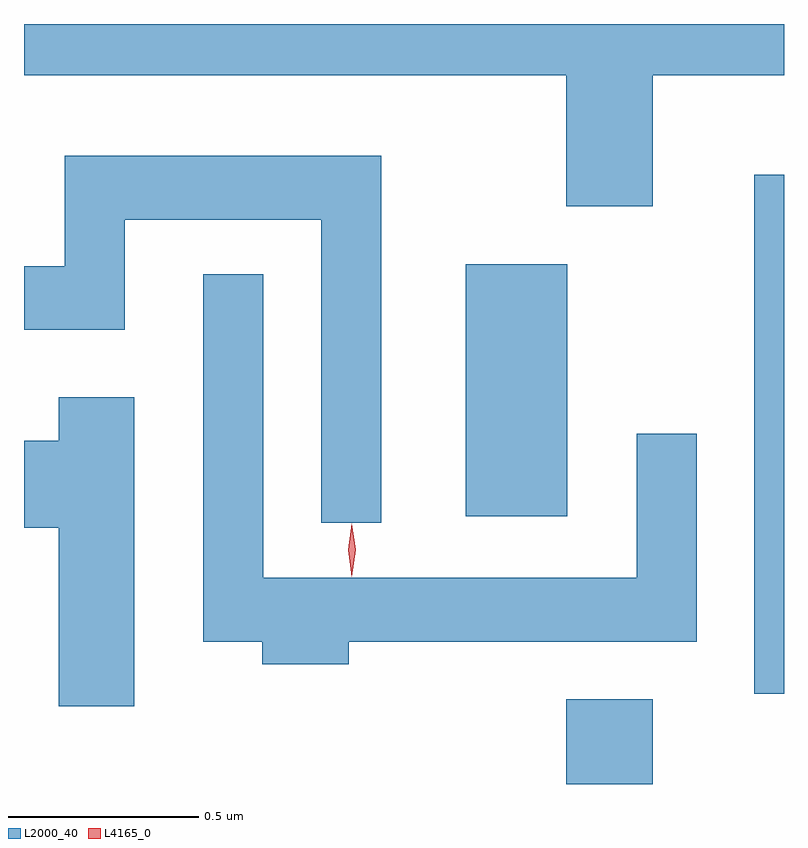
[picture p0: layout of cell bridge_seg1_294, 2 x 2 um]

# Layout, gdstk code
import gdstk
lib = gdstk.Library(unit=1e-6, precision=1e-09)
def R(c, l, rs):  # rectangles x0, y0, x1, y1
    for r in rs: c.add(gdstk.rectangle(r[:2], r[2:], *l))
def P(c, l, *ps):  # polygons
    for p in ps: c.add(gdstk.Polygon(p, *l))
L2000_40 = (2000, 40)
L4165_0 = (4165, 0)

bridge_seg1_294 = lib.new_cell('bridge_seg1_294')
R(bridge_seg1_294, L2000_40, [(872.641,891.051,872.869,891.274), (873.136,891.288,873.214,892.654), (872.376,891.756,872.644,892.419)])
P(bridge_seg1_294, L2000_40, [(872.869,892.916),(873.214,892.916),(873.214,893.051),(871.214,893.051),(871.214,892.916),(872.641,892.916),(872.641,892.571),(872.869,892.571)],
  [(872.154,892.704),(871.321,892.704),(871.321,892.414),(871.214,892.414),(871.214,892.246),(871.479,892.246),(871.479,892.536),(871.996,892.536),(871.996,891.738),(872.154,891.738)],
  [(872.069,891.426),(872.984,891.426),(872.984,891.973),(872.826,891.973),(872.826,891.594),(871.844,891.594),(871.844,892.393),(871.686,892.393),(871.686,891.426),(871.841,891.426),(871.841,891.366),(872.069,891.366)],
  [(871.504,892.069),(871.306,892.069),(871.306,891.954),(871.214,891.954),(871.214,891.726),(871.306,891.726),(871.306,891.256),(871.504,891.256)])
P(bridge_seg1_294, L4165_0, [(872.077,891.599),(872.076,891.6),(872.067,891.666),(872.076,891.732),(872.076,891.733),(872.077,891.732),(872.086,891.666),(872.077,891.6)],
  [(872.076,891.597),(872.067,891.667),(872.076,891.736),(872.077,891.736),(872.077,891.736),(872.087,891.667),(872.077,891.597),(872.077,891.597)])

lib.write_gds('bridge_seg1_294.gds')
